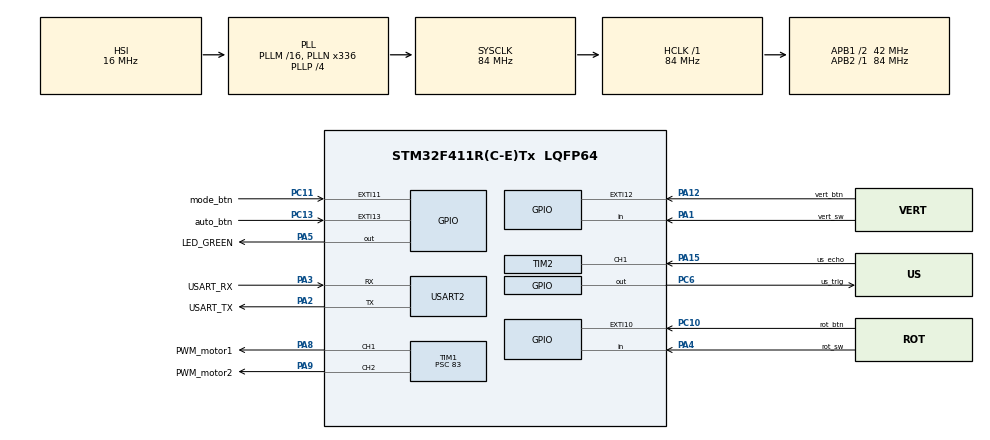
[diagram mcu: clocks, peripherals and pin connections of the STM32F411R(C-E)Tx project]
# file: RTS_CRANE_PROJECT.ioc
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FREERTOS.INCLUDE_xTaskGetHandle=1
FREERTOS.Tasks01=defaultTask,24,128,StartDefaultTask,Default,NULL,Dynamic,NULL,NULL
FREERTOS.configTIMER_TASK_PRIORITY=4
FREERTOS.configUSE_NEWLIB_REENTRANT=1
Mcu.Family=STM32F4
Mcu.Name=STM32F411R(C-E)Tx
Mcu.Package=LQFP64
NVIC.EXTI15_10_IRQn=true\:5\:0\:false\:false\:true\:true\:true\:true\:true
NVIC.PriorityGroup=NVIC_PRIORITYGROUP_4
NVIC.TIM2_IRQn=true\:5\:0\:false\:false\:true\:true\:true\:true\:true
NVIC.TIM4_IRQn=true\:15\:0\:false\:false\:true\:false\:false\:true\:true
NVIC.TimeBase=TIM4_IRQn
NVIC.TimeBaseIP=TIM4
PA1.GPIO_Label=vert_sw
PA1.GPIO_PuPd=GPIO_PULLUP
PA1.Signal=GPIO_Input
PA12.GPIO_Label=vert_btn
PA12.GPIO_ModeDefaultEXTI=GPIO_MODE_IT_FALLING
PA12.GPIO_PuPd=GPIO_PULLUP
PA12.Signal=GPXTI12
PA14.GPIO_Label=TCK
PA14.Signal=SYS_JTCK-SWCLK
PA15.GPIO_Label=us_echo
PA15.Signal=S_TIM2_CH1_ETR
PA2.GPIO_Label=USART_TX
PA2.Mode=Asynchronous
PA2.Signal=USART2_TX
PA3.GPIO_Label=USART_RX
PA3.Mode=Asynchronous
PA3.Signal=USART2_RX
PA4.GPIO_Label=rot_sw
PA4.Signal=GPIO_Input
PA5.GPIO_Label=LED_GREEN
PA5.Signal=GPIO_Output
PA8.GPIO_Label=PWM_motor1
PA8.Signal=S_TIM1_CH1
PA9.GPIO_Label=PWM_motor2
PA9.Signal=S_TIM1_CH2
PB3.GPIO_Label=SWO
PB3.Signal=SYS_JTDO-SWO
PC10.GPIO_Label=rot_btn
PC10.GPIO_ModeDefaultEXTI=GPIO_MODE_IT_FALLING
PC10.GPIO_PuPd=GPIO_PULLUP
PC10.Signal=GPXTI10
PC11.GPIO_Label=mode_btn
PC11.GPIO_ModeDefaultEXTI=GPIO_MODE_IT_FALLING
PC11.GPIO_PuPd=GPIO_PULLUP
PC11.Signal=GPXTI11
PC13-ANTI_TAMP.GPIO_Label=auto_btn
PC13-ANTI_TAMP.GPIO_ModeDefaultEXTI=GPIO_MODE_IT_FALLING
PC13-ANTI_TAMP.GPIO_PuPd=GPIO_PULLUP
PC13-ANTI_TAMP.Signal=GPXTI13
PC14-OSC32_IN.Mode=LSE-External-Oscillator
PC14-OSC32_IN.Signal=RCC_OSC32_IN
PC15-OSC32_OUT.Mode=LSE-External-Oscillator
PC15-OSC32_OUT.Signal=RCC_OSC32_OUT
PC6.GPIO_Label=us_trig
PC6.GPIO_PuPd=GPIO_PULLDOWN
PC6.GPIO_Speed=GPIO_SPEED_FREQ_HIGH
PC6.Signal=GPIO_Output
PH0\ -\ OSC_IN.Mode=HSE-External-Clock-Source
PH0\ -\ OSC_IN.Signal=RCC_OSC_IN
PH1\ -\ OSC_OUT.Mode=HSE-External-Clock-Source
PH1\ -\ OSC_OUT.Signal=RCC_OSC_OUT
ProjectManager.HeapSize=0x200
ProjectManager.StackSize=0x400
ProjectManager.TargetToolchain=STM32CubeIDE
RCC.48MHZClocksFreq_Value=84000000
RCC.AHBFreq_Value=84000000
RCC.APB1CLKDivider=RCC_HCLK_DIV2
RCC.APB1Freq_Value=42000000
RCC.APB1TimFreq_Value=84000000
RCC.APB2Freq_Value=84000000
RCC.APB2TimFreq_Value=84000000
RCC.CortexFreq_Value=84000000
RCC.FLatency-AdvancedSettings=FLASH_LATENCY_2
RCC.HCLKFreq_Value=84000000
RCC.HSE_VALUE=8000000
RCC.HSI_VALUE=16000000
RCC.PLLN=336
RCC.PLLP=RCC_PLLP_DIV4
RCC.SYSCLKFreq_VALUE=84000000
RCC.SYSCLKSource=RCC_SYSCLKSOURCE_PLLCLK
RCC.VCOOutputFreq_Value=336000000
SH.S_TIM1_CH1.0=TIM1_CH1,PWM Generation1 CH1
SH.S_TIM1_CH2.0=TIM1_CH2,PWM Generation2 CH2
SH.S_TIM2_CH1_ETR.0=TIM2_CH1,Input_Capture1_from_TI1
TIM1.AutoReloadPreload=TIM_AUTORELOAD_PRELOAD_ENABLE
TIM1.Channel-PWM\ Generation1\ CH1=TIM_CHANNEL_1
TIM1.Channel-PWM\ Generation2\ CH2=TIM_CHANNEL_2
TIM1.Period=19999
TIM1.Prescaler=83
TIM2.Channel-Input_Capture1_from_TI1=TIM_CHANNEL_1
TIM2.Period=65535
TIM2.Prescaler=83
USART2.VirtualMode=VM_ASYNC
VP_FREERTOS_VS_CMSIS_V2.Mode=CMSIS_V2
VP_SYS_VS_tim4.Mode=TIM4
VP_TIM1_VS_ClockSourceINT.Mode=Internal
VP_TIM2_VS_ClockSourceINT.Mode=Internal
board=NUCLEO-F411RE

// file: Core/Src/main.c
/* USER CODE BEGIN Header */
/**
  ******************************************************************************
  * @file           : main.c
  * @brief          : Main program body
  ******************************************************************************
  * @attention
  *
  * Copyright (c) 2025 STMicroelectronics.
  * All rights reserved.
  *
  * This software is licensed under terms that can be found in the LICENSE file
  * in the root directory of this software component.
  * If no LICENSE file comes with this software, it is provided AS-IS.
  *
  ******************************************************************************
  */
/* USER CODE END Header */
#include "main.h"
#include "cmsis_os.h"
#include "tim.h"
#include "usart.h"
#include "gpio.h"

/* USER CODE BEGIN PV */
uint8_t capturing;
uint32_t echo_rising;
uint32_t echo_falling;
/* USER CODE END PV */

void SystemClock_Config(void);
void MX_FREERTOS_Init(void);

int main(void)
{

  /* MCU Configuration--------------------------------------------------------*/

  /* Reset of all peripherals, Initializes the Flash interface and the Systick. */
  HAL_Init();

  /* Configure the system clock */
  SystemClock_Config();

  /* Initialize all configured peripherals */
  MX_GPIO_Init();
  MX_TIM1_Init();
  MX_TIM2_Init();
  MX_USART2_UART_Init();

  /* Init scheduler */
  osKernelInitialize();  /* Call init function for freertos objects (in cmsis_os2.c) */
  MX_FREERTOS_Init();

  /* Start scheduler */
  osKernelStart();

  /* We should never get here as control is now taken by the scheduler */

  /* Infinite loop */
  while (1)
  {

  }
}

void SystemClock_Config(void)
{
  RCC_OscInitTypeDef RCC_OscInitStruct = {0};
  RCC_ClkInitTypeDef RCC_ClkInitStruct = {0};

  /** Configure the main internal regulator output voltage
  */
  __HAL_RCC_PWR_CLK_ENABLE();
  __HAL_PWR_VOLTAGESCALING_CONFIG(PWR_REGULATOR_VOLTAGE_SCALE1);

  /** Initializes the RCC Oscillators according to the specified parameters
  * in the RCC_OscInitTypeDef structure.
  */
  RCC_OscInitStruct.OscillatorType = RCC_OSCILLATORTYPE_HSI;
  RCC_OscInitStruct.HSIState = RCC_HSI_ON;
  RCC_OscInitStruct.HSICalibrationValue = RCC_HSICALIBRATION_DEFAULT;
  RCC_OscInitStruct.PLL.PLLState = RCC_PLL_ON;
  RCC_OscInitStruct.PLL.PLLSource = RCC_PLLSOURCE_HSI;
  RCC_OscInitStruct.PLL.PLLM = 16;
  RCC_OscInitStruct.PLL.PLLN = 336;
  RCC_OscInitStruct.PLL.PLLP = RCC_PLLP_DIV4;
  RCC_OscInitStruct.PLL.PLLQ = 4;
  if (HAL_RCC_OscConfig(&RCC_OscInitStruct) != HAL_OK)
  {
    Error_Handler();
  }

  /** Initializes the CPU, AHB and APB buses clocks
  */
  RCC_ClkInitStruct.ClockType = RCC_CLOCKTYPE_HCLK|RCC_CLOCKTYPE_SYSCLK
                              |RCC_CLOCKTYPE_PCLK1|RCC_CLOCKTYPE_PCLK2;
  RCC_ClkInitStruct.SYSCLKSource = RCC_SYSCLKSOURCE_PLLCLK;
  RCC_ClkInitStruct.AHBCLKDivider = RCC_SYSCLK_DIV1;
  RCC_ClkInitStruct.APB1CLKDivider = RCC_HCLK_DIV2;
  RCC_ClkInitStruct.APB2CLKDivider = RCC_HCLK_DIV1;

  if (HAL_RCC_ClockConfig(&RCC_ClkInitStruct, FLASH_LATENCY_2) != HAL_OK)
  {
    Error_Handler();
  }
}

void HAL_TIM_PeriodElapsedCallback(TIM_HandleTypeDef *htim)
{
  if (htim->Instance == TIM4)
  {
    HAL_IncTick();
  }
}

void Error_Handler(void)
{
  __disable_irq();
  while (1)
  {
  }
}

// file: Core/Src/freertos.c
/* USER CODE BEGIN Header */
/**
  ******************************************************************************
  * File Name          : freertos.c
  * Description        : Code for freertos applications
  ******************************************************************************
  * @attention
  *
  * Copyright (c) 2025 STMicroelectronics.
  * All rights reserved.
  *
  * This software is licensed under terms that can be found in the LICENSE file
  * in the root directory of this software component.
  * If no LICENSE file comes with this software, it is provided AS-IS.
  *
  ******************************************************************************
  */
/* USER CODE END Header */

#include "FreeRTOS.h"
#include "task.h"
#include "main.h"
#include "cmsis_os.h"

/* USER CODE BEGIN Includes */
#include "crane.h"
#include "queue.h"

/* USER CODE END Includes */

/* USER CODE BEGIN Variables */
TaskHandle_t  vert_motor_controller_handle;
TaskHandle_t  rot_motor_controller_handle;
TaskHandle_t  auto_motor_controller_handle;
TaskHandle_t usart_handle;

QueueHandle_t usartQueue;
/* USER CODE END Variables */
/* Definitions for defaultTask */
osThreadId_t defaultTaskHandle;
const osThreadAttr_t defaultTask_attributes = {
  .name = "defaultTask",
  .stack_size = 128 * 4,
  .priority = (osPriority_t) osPriorityNormal,
};

void StartDefaultTask(void *argument);

void MX_FREERTOS_Init(void); /* (MISRA C 2004 rule 8.1) */

void MX_FREERTOS_Init(void) {

  /* USER CODE BEGIN RTOS_QUEUES */
  /* add queues, ... */
	usartQueue = xQueueCreate(10, sizeof(char[50]));
  /* USER CODE END RTOS_QUEUES */

  /* Create the thread(s) */
  /* creation of defaultTask */
  defaultTaskHandle = osThreadNew(StartDefaultTask, NULL, &defaultTask_attributes);

  /* USER CODE BEGIN RTOS_THREADS */
  /* add threads, ... */
  xTaskCreate(vert_motor_controller_task,
              "VertMotor",
              500,
              NULL,
              osPriorityNormal,
              &vert_motor_controller_handle);

  xTaskCreate(rot_motor_controller_task,
              "RotMotor",
              500,
              NULL,
              osPriorityNormal,
              &rot_motor_controller_handle);

  xTaskCreate(auto_motor_controller_task,
                "AutoTask",
                500,
                NULL,
                osPriorityNormal,
                &auto_motor_controller_handle);

  xTaskCreate(usart_task,
                "USARTTASK",
                256,
                NULL,
                osPriorityNormal,
                &usart_handle);

  /* USER CODE END RTOS_THREADS */

}

void StartDefaultTask(void *argument)
{
  for(;;)
  {
    osDelay(1);
  }
}
